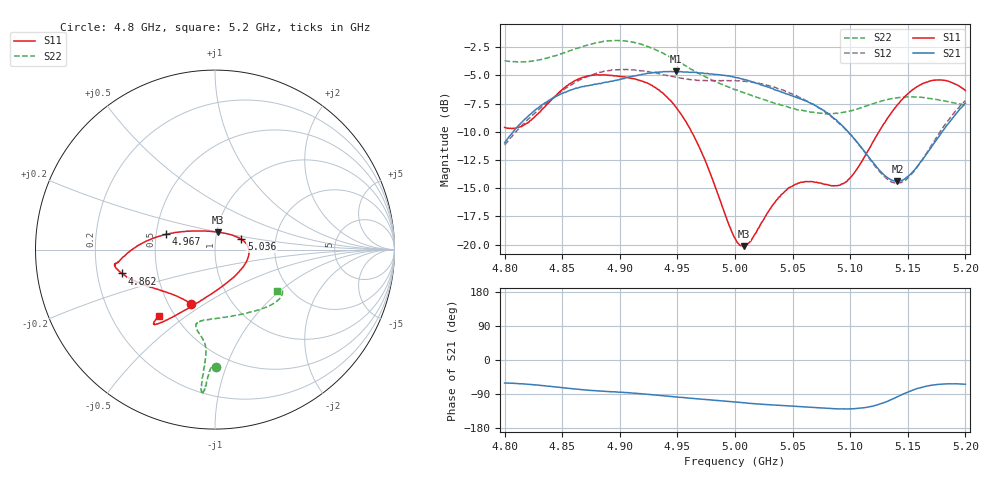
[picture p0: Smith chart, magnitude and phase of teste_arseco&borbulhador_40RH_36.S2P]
! Network Analyzer HP8722D
! Hewlett-Packard
! Data name: Linha & Wilkinson
! Saver's name: Rodrigo Anjos
! Comments: Teste da utilização de aquisição
! continua pelo VNA HP8722D
! Time and date: 15/4/2025 16:39
!  Frequency  S11  S21  S12  S22
# HZ  S  MA R 50
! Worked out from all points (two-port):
!   401 points, 4.8 GHz to 5.2 GHz, reference 50 ohm
!   highest |S21| = -4.64 dB at 4.949 GHz (marker M1); lowest = -14.4 dB at 5.141 GHz (marker M2)
!   |S21| within 3 dB of the highest: 4.832 GHz to 5.069 GHz (237.5 MHz wide, 4.8 % of centre); 5.198403 GHz to end of sweep
!   lowest |S11| = -20.1 dB at 5.008 GHz (marker M3), VSWR 1.22, Z = 50.8 + j9.94 ohm
!   |S11| at or under -10 dB: 4.962 GHz to 5.125 GHz (162.6 MHz wide, 3.22 % of centre)
!   |S22| runs from -8.4 to -1.9 dB; largest |S21 - S12| = 0.88
!   S11 on the Smith chart (normalised r, x): 4.8 GHz: 0.65, -0.44; 4.862 GHz: 0.31, -0.11; 4.967 GHz: 0.57, +0.10; 5.036 GHz: 1.33, +0.16; 5.2 GHz: 0.41, -0.40
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4.8e9  0.3308 -113.7  0.2827 -60.8  0.2764 -175.0  0.6538 -89.5
4.819e9  0.3446 -133.6  0.365 -63.8  0.3531 -173.4  0.6486 -91.1
4.862e9  0.536 -165.6  0.4945 -76.5  0.5267 -176.6  0.7399 -93.7
4.867e9  0.5497 -167.5  0.5017 -78.3  0.5421 -177.4  0.7543 -93.7
4.9e9  0.5576 -172.1  0.5408 -84.9  0.5971 175.9  0.8033 -95.1
4.934e9  0.4855 -178.0  0.5818 -93.3  0.5735 171.8  0.7194 -95.7
4.949e9  0.4058 174.9  0.5861 -97.4  0.5524 172.1  0.6555 -95.2
4.967e9  0.2844 162.6  0.5786 -102.1  0.5352 173.9  0.5803 -95.0
5e9  0.1068 107.1  0.5509 -111.0  0.5336 176.4  0.4858 -99.4
5.008e9  0.09845 79.9  0.5396 -113.0  0.5298 176.4  0.4715 -101.3
5.014e9  0.1042 61.1  0.5295 -114.7  0.5259 176.1  0.4603 -102.5
5.036e9  0.1575 21.6  0.483 -119.5  0.4954 174.9  0.421 -103.8
5.051e9  0.1836 6.0  0.4533 -121.9  0.4613 174.5  0.4023 -100.0
5.067e9  0.1904 -11.4  0.4198 -124.9  0.4214 173.8  0.3868 -91.9
5.086e9  0.1822 -41.7  0.363 -128.4  0.3609 173.7  0.3813 -77.6
5.097e9  0.1905 -65.0  0.3212 -129.2  0.3206 174.3  0.3883 -68.5
5.134e9  0.3731 -116.1  0.1959 -106.8  0.1917 -159.5  0.4421 -43.3
5.141e9  0.4168 -120.1  0.1909 -97.0  0.187 -148.7  0.448 -40.2
5.153e9  0.4813 -125.0  0.2068 -80.9  0.2045 -130.0  0.4522 -35.9
5.17e9  0.5328 -128.5  0.2682 -66.8  0.2731 -113.0  0.4445 -32.1
5.184e9  0.532 -129.9  0.3386 -63.1  0.3495 -107.2  0.4316 -31.1
5.2e9  0.4824 -130.4  0.4234 -64.0  0.4349 -106.1  0.4153 -33.5
